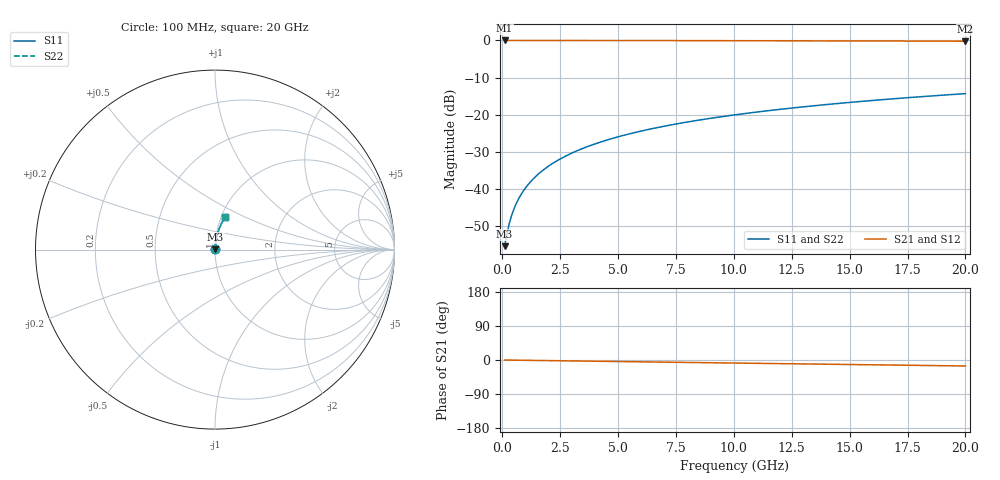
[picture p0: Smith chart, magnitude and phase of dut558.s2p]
! Touchstone file exported from HFSS 2026.1.0
!  File:  C:/ffzhzh/LocalFiles/Ansys_Project_Files/temp_train_BSMRDL_558_1783015298_55676.aedt
!  Generated:  02:03:05 AM Jul  3, 2026
!  Design:  BSMRDL
!  Project:  temp_train_BSMRDL_558_1783015298_55676
! Variables:
!  h_bsmrdl = 4.06um
!  h_ox = 20um
!  h_rdl = 5um
!  h_sub = 80um
!  h_tmrdl = 5um
!  h_tsv = 80um
!  h_via = 3um
!  l_bsmrdl = 170.25um
!  l_sub = 570.25um
!  l_tmrdl = 200um
!  m_sub = 200um
!  pitch = 44.15um
!  r_tsv = 6um
!  s_tmrdl = 10um
!  w_bsmrdl = 12.17um
!  w_sub = 500um
!  w_tmrdl = 12um
!  x_tsv_center1 = 206um
!  x_tsv_center2 = 388.42um
!  x_tsv_center3 = 600.42um
!  x_tsv_center4 = 782.84um
!  x_tsv_center5 = 994.84um
!  x_tsv_center6 = 1177.26um
# GHz S MA R 50.000000
! Terminal data exported
! Port[1] = BSM_RDL1_1_T1
! Port[2] = BSM_RDL1_1_T2
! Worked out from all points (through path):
!   200 points, 100 MHz to 20 GHz, reference 50 ohm
!   highest |S21| = -0.01 dB at 100 MHz (marker M1); lowest = -0.2 dB at 20 GHz (marker M2)
!   group delay of S21, straight-line fit = 2.19 ps
!   lowest |S11| = -55.3 dB at 100 MHz (marker M3), VSWR 1.00, Z = 50.1 + j0.106 ohm
!   |S11| at or under -10 dB: start of sweep to end of sweep
!   |S22| runs from -55.3 to -14.3 dB; largest |S21 - S12| = 4e-15
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0.1  0.00172 38.0  0.9986 -0.1  0.9986 -0.1  0.00172 38.0
! Gamma 0 0 0 0
! Port Impedance 50 0 50 0
0.2  0.002522 56.8  0.9986 -0.2  0.9986 -0.2  0.002522 56.8
0.3  0.003453 65.8  0.9986 -0.3  0.9986 -0.3  0.003453 65.8
0.4  0.004423 70.8  0.9986 -0.3  0.9986 -0.3  0.004423 70.8
0.5  0.005407 74.0  0.9985 -0.4  0.9985 -0.4  0.005407 74.0
0.6  0.0064 76.1  0.9985 -0.5  0.9985 -0.5  0.0064 76.1
0.8  0.008397 79.0  0.9984 -0.7  0.9984 -0.7  0.008397 79.0
1.1  0.01141 81.3  0.9984 -0.9  0.9984 -0.9  0.01141 81.3
1.5  0.01545 82.8  0.9983 -1.2  0.9983 -1.2  0.01545 82.8
1.8  0.01849 83.4  0.9982 -1.5  0.9982 -1.5  0.01849 83.4
2.1  0.02153 83.8  0.9981 -1.7  0.9981 -1.7  0.02153 83.8
2.7  0.02759 84.1  0.9978 -2.2  0.9978 -2.2  0.02759 84.1
3.5  0.03566 84.0  0.9974 -2.9  0.9974 -2.9  0.03566 84.0
4.2  0.04269 83.8  0.997 -3.4  0.997 -3.4  0.04269 83.8
5  0.05067 83.3  0.9964 -4.1  0.9964 -4.1  0.05067 83.3
5.9  0.0596 82.8  0.9957 -4.8  0.9957 -4.8  0.0596 82.8
6.8  0.06848 82.2  0.9949 -5.5  0.9949 -5.5  0.06848 82.2
8.3  0.08314 81.2  0.9934 -6.7  0.9934 -6.7  0.08314 81.2
10.1  0.1005 79.9  0.9914 -8.1  0.9914 -8.1  0.1005 79.9
13.4  0.1319 77.5  0.9871 -10.7  0.9871 -10.7  0.1319 77.5
16.7  0.1627 75.1  0.982 -13.2  0.982 -13.2  0.1627 75.1
20  0.1927 72.7  0.9762 -15.8  0.9762 -15.8  0.1927 72.7
